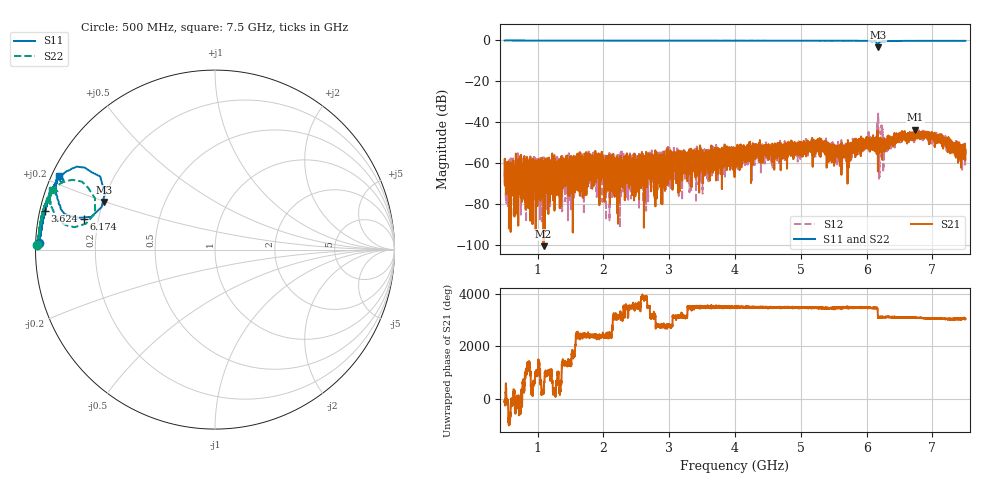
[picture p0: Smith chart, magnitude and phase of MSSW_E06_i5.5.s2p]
!Keysight Technologies,M9374A,MY55442783,A.12.55.05
!Date: Thursday, May 20, 2021 14:59:17
!Correction: S11(Full 2 Port(1,2))
!S21(Full 2 Port(1,2))
!S12(Full 2 Port(1,2))
!S22(Full 2 Port(1,2))
!S2P File: Measurements: S11, S21, S12, S22:
# Hz S  RI  R 50
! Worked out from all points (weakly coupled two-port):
!   7001 points, 500 MHz to 7.5 GHz, reference 50 ohm
!   highest |S21| = -43.71 dB at 6.741 GHz (marker M1); lowest = -100.5 dB at 1.092 GHz (marker M2)
!   lowest |S11| = -3.4 dB at 6.167 GHz (marker M3), VSWR 5.14, Z = 10.1 + j9.83 ohm
!   |S11| at or under -10 dB: nowhere
!   |S22| runs from -3.1 to -0.1 dB; largest |S21 - S12| = 0.016
!   S11 on the Smith chart (normalised r, x): 500 MHz: 0.01, +0.02; 3.624 GHz: 0.01, +0.11; 6.174 GHz: 0.14, +0.11; 7.5 GHz: 0.02, +0.22
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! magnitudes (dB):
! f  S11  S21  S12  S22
! 500 MHz  -0.2  -66.2  -69.2  -0.1
! 599 MHz  -0.2  -68.8  -68.5  -0.1
! 906 MHz  -0.2  -62.3  -68.7  -0.1
! 1.092 GHz  -0.2  -100.5  -68.5  -0.1
! 1.667 GHz  -0.2  -59.4  -62.4  -0.1
! 1.845 GHz  -0.2  -63.6  -55.0  -0.1
! 2.188 GHz  -0.2  -65.0  -68.3  -0.1
! 2.834 GHz  -0.2  -56.2  -69.9  -0.1
! 3.624 GHz  -0.2  -59.9  -55.5  -0.1
! 4 GHz  -0.3  -52.4  -59.2  -0.2
! 5.167 GHz  -0.3  -50.3  -51.8  -0.2
! 5.563 GHz  -0.3  -56.1  -54.1  -0.2
! 5.992 GHz  -0.4  -48.9  -49.6  -0.3
! 6.118 GHz  -0.5  -51.3  -50.9  -0.4
! 6.15 GHz  -1.1  -50.4  -48.8  -0.9
! 6.167 GHz  -3.4  -44.1  -42.7  -3.1
! 6.174 GHz  -2.5  -55.4  -36.5  -2.3
! 6.334 GHz  -0.5  -48.5  -52.7  -0.4
! 6.741 GHz  -0.4  -43.7  -47.4  -0.3
! 7.106 GHz  -0.3  -45.9  -48.0  -0.3
! 7.435 GHz  -0.3  -62.3  -54.1  -0.3
! 7.5 GHz  -0.3  -55.3  -53.9  -0.3
